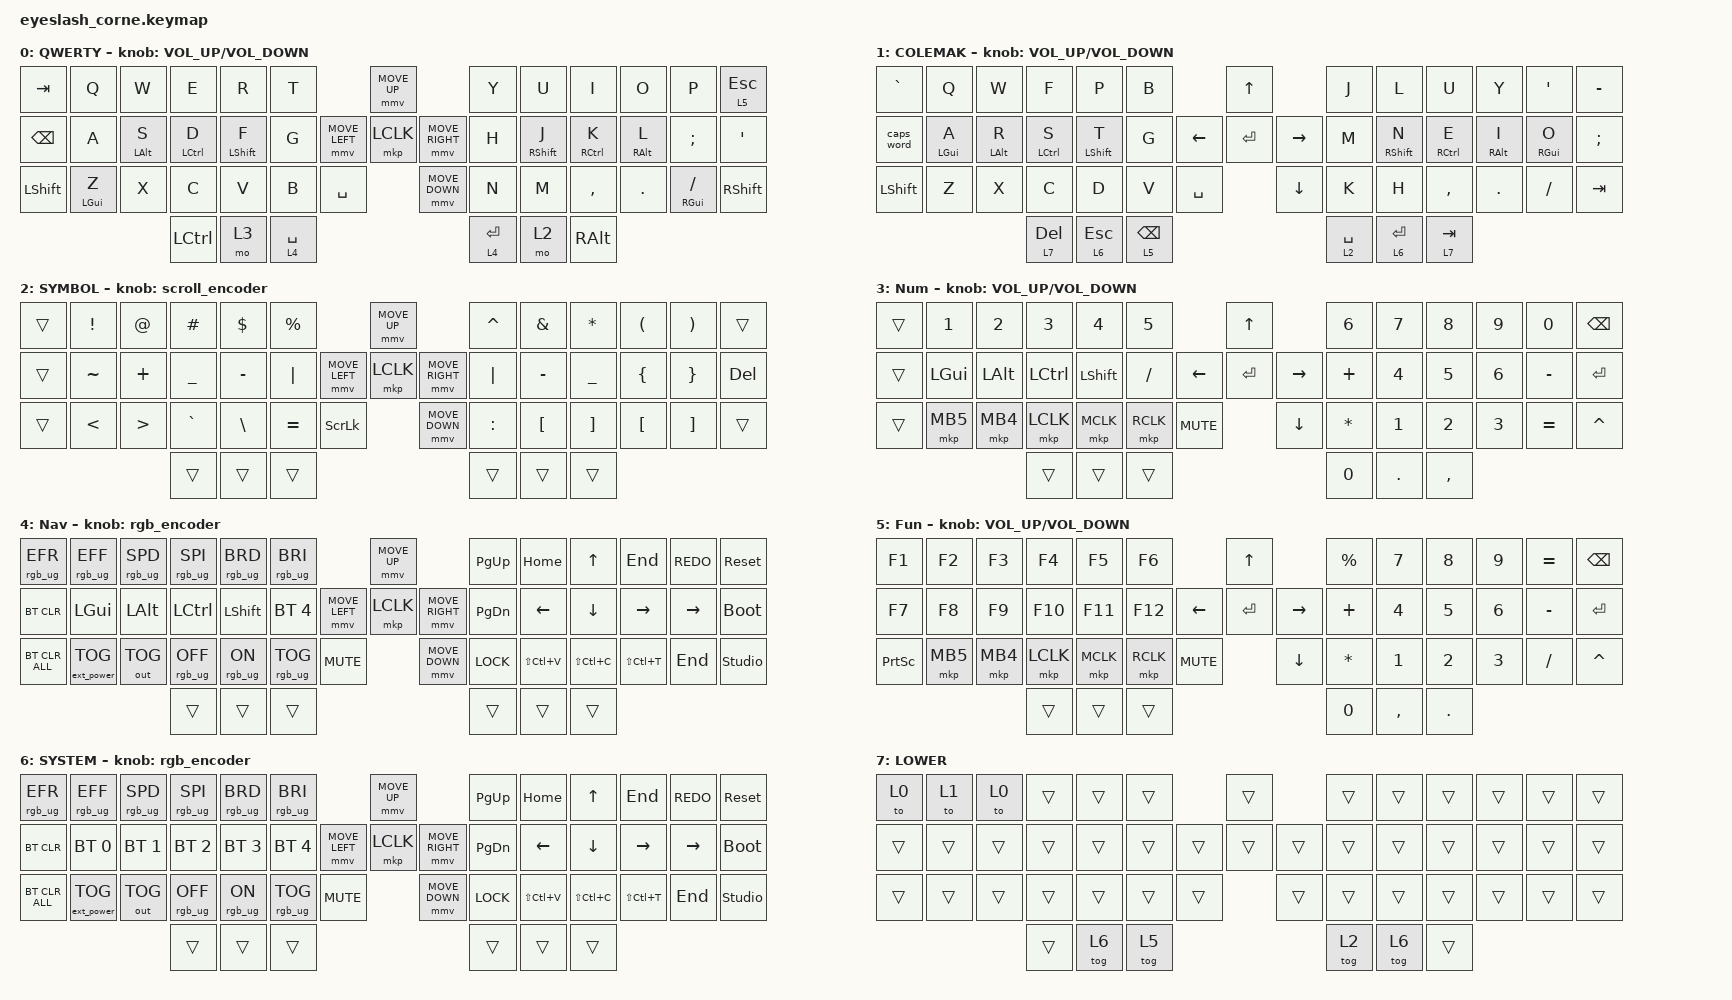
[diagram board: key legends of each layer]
#include <dt-bindings/zmk/mouse.h>
#include <input/processors.dtsi>
#include <behaviors.dtsi>
#include <dt-bindings/zmk/bt.h>
#include <dt-bindings/zmk/ext_power.h>
#include <dt-bindings/zmk/keys.h>
#include <dt-bindings/zmk/outputs.h>
#include <dt-bindings/zmk/pointing.h>
#include <dt-bindings/zmk/rgb.h>

/*

   &mmv_input_listener {
       input-processors = <&zip_xy_scaler 2 1>;
   };

   &msc_input_listener {
       input-processors = <&zip_xy_scaler 2 1>;
   };

 */

#define ZMK_MOUSE_DEFAULT_MOVE_VAL 1200  // 600
#define ZMK_MOUSE_DEFAULT_SCRL_VAL 20    // 10

/ {
    behaviors {
        td0: td0 {
            compatible = "zmk,behavior-tap-dance";
            display-name = "Shift/Caps Lock Tap Dance";
            #binding-cells = <0>;
            bindings = <&kp LEFT_SHIFT>, <&kp CAPS>;
        };

        hrm_left: hrm_left {
            compatible = "zmk,behavior-hold-tap";
            label = "HRM_LEFT";
            bindings = <&kp>, <&kp>;

            #binding-cells = <2>;
            flavor = "balanced";
            tapping-term-ms = <280>;
            quick-tap-ms = <175>;
            require-prior-idle-ms = <175>;
            hold-trigger-on-release;
            hold-trigger-key-positions = <6 7 20 21 22 35 36 45 46 47 8 9 10 11 12 23 24 25 26 27 37 38 39 40 41 19 34 44 43 42>;
        };

        hrm_right: hrm_right {
            compatible = "zmk,behavior-hold-tap";
            label = "HRM_RIGHT";
            bindings = <&kp>, <&kp>;

            #binding-cells = <2>;
            flavor = "balanced";
            tapping-term-ms = <280>;
            quick-tap-ms = <175>;
            require-prior-idle-ms = <175>;
            hold-trigger-on-release;
            hold-trigger-key-positions = <0 1 2 3 4 5 13 14 15 16 17 18 28 29 30 31 32 33 34 42 43 44 19 20 21 35 6 45 46 47>;
        };

        layer_tap: layer_tap {
            compatible = "zmk,behavior-hold-tap";
            label = "LAYER_TAP";
            bindings = <&mo>, <&kp>;

            #binding-cells = <2>;
            quick-tap-ms = <175>;
            flavor = "tap-preferred";
            tapping-term-ms = <280>;
        };
    };

    rgb_encoder: rgb_encoder {
        compatible = "zmk,behavior-sensor-rotate";
        #sensor-binding-cells = <0>;
        bindings = <&rgb_ug RGB_BRI>, <&rgb_ug RGB_BRD>;
    };

    scroll_encoder: scroll_encoder {
        compatible = "zmk,behavior-sensor-rotate";
        #sensor-binding-cells = <0>;
        bindings = <&msc SCRL_DOWN>, <&msc SCRL_UP>;

        tap-ms = <30>;
    };

    keymap {
        compatible = "zmk,keymap";

        qwerty {
            display-name = "QWERTY";
            bindings = <
&kp TAB         &kp Q                 &kp W             &kp E              &kp R              &kp T                                            &mmv MOVE_UP                     &kp Y               &kp U               &kp I               &kp O              &kp P                       &lt 5 ESC
&kp BACKSPACE   &kp A                 &hrm_left LALT S  &hrm_left LCTRL D  &hrm_left LSHFT F  &kp G                            &mmv MOVE_LEFT  &mkp LCLK       &mmv MOVE_RIGHT  &kp H               &hrm_right RSHFT J  &hrm_right RCTRL K  &hrm_right RALT L  &kp SEMICOLON               &kp SQT
&kp LEFT_SHIFT  &hrm_left LEFT_GUI Z  &kp X             &kp C              &kp V              &kp B               &kp SPACE                    &mmv MOVE_DOWN                   &kp N               &kp M               &kp COMMA           &kp DOT            &hrm_right RIGHT_GUI SLASH  &kp RIGHT_SHIFT
                                                        &kp LEFT_CONTROL   &mo 3              &layer_tap 4 SPACE                                                                &layer_tap 4 ENTER  &mo 2               &kp RIGHT_ALT
            >;

            sensor-bindings = <&inc_dec_kp C_VOLUME_UP C_VOLUME_DOWN>;
        };

        colemak {
            display-name = "COLEMAK";
            bindings = <
&kp GRAVE       &kp Q             &kp W             &kp F                &kp P              &kp B                                          &kp UP                &kp J               &kp L               &kp U               &kp Y              &kp APOS           &kp MINUS
&caps_word      &hrm_left LGUI A  &hrm_left LALT R  &hrm_left LCTRL S    &hrm_left LSHFT T  &kp G                                &kp LEFT  &kp ENTER  &kp RIGHT  &kp M               &hrm_right RSHFT N  &hrm_right RCTRL E  &hrm_right RALT I  &hrm_right RGUI O  &kp SEMI
&kp LEFT_SHIFT  &kp Z             &kp X             &kp C                &kp D              &kp V                   &kp SPACE              &kp DOWN              &kp K               &kp H               &kp COMMA           &kp DOT            &kp FSLH           &kp TAB
                                                    &layer_tap 7 DELETE  &layer_tap 6 ESC   &layer_tap 5 BACKSPACE                                               &layer_tap 2 SPACE  &layer_tap 6 ENTER  &layer_tap 7 TAB
            >;

            sensor-bindings = <&inc_dec_kp C_VOLUME_UP C_VOLUME_DOWN>;
        };

        symbol {
            bindings = <
&trans  &kp EXCLAMATION  &kp AT_SIGN       &kp HASH        &kp DOLLAR     &kp PERCENT                                    &mmv MOVE_UP                     &kp CARET  &kp AMPERSAND     &kp ASTERISK       &kp LEFT_PARENTHESIS  &kp RIGHT_PARENTHESIS  &trans
&trans  &kp TILDE        &kp PLUS          &kp UNDERSCORE  &kp MINUS      &kp PIPE                       &mmv MOVE_LEFT  &mkp LCLK       &mmv MOVE_RIGHT  &kp PIPE   &kp MINUS         &kp UNDERSCORE     &kp LEFT_BRACE        &kp RIGHT_BRACE        &kp DELETE
&trans  &kp LESS_THAN    &kp GREATER_THAN  &kp GRAVE       &kp BACKSLASH  &kp EQUAL    &kp SCROLLLOCK                    &mmv MOVE_DOWN                   &kp COLON  &kp LEFT_BRACKET  &kp RIGHT_BRACKET  &kp LEFT_BRACKET      &kp RIGHT_BRACKET      &trans
                                           &trans          &trans         &trans                                                                          &trans     &trans            &trans
            >;

            label = "SYMBOL";
            sensor-bindings = <&scroll_encoder>;
        };

        Num {
            label = "Num";
            bindings = <
&trans  &kp N1        &kp N2        &kp N3            &kp N4          &kp N5                             &kp UP                &kp N6        &kp N7      &kp N8     &kp N9  &kp N0     &kp BACKSPACE
&trans  &kp LEFT_GUI  &kp LEFT_ALT  &kp LEFT_CONTROL  &kp LEFT_SHIFT  &kp SLASH                &kp LEFT  &kp ENTER  &kp RIGHT  &kp PLUS      &kp N4      &kp N5     &kp N6  &kp MINUS  &kp ENTER
&trans  &mkp MB5      &mkp MB4      &mkp LCLK         &mkp MCLK       &mkp RCLK  &kp C_MUTE              &kp DOWN              &kp ASTERISK  &kp N1      &kp N2     &kp N3  &kp EQUAL  &kp CARET
                                    &trans            &trans          &trans                                                   &kp N0        &kp PERIOD  &kp COMMA
            >;

            sensor-bindings = <&inc_dec_kp C_VOLUME_UP C_VOLUME_DOWN>;
        };

        Nav {
            display-name = "Nav";
            bindings = <
&rgb_ug RGB_EFR  &rgb_ug RGB_EFF    &rgb_ug RGB_SPD  &rgb_ug RGB_SPI   &rgb_ug RGB_BRD  &rgb_ug RGB_BRI                                &mmv MOVE_UP                     &kp PAGE_UP    &kp HOME        &kp UP_ARROW    &kp END        &kp K_REDO  &sys_reset
&bt BT_CLR       &kp LEFT_GUI       &kp LEFT_ALT     &kp LEFT_CONTROL  &kp LEFT_SHIFT   &bt BT_SEL 4                   &mmv MOVE_LEFT  &mkp LCLK       &mmv MOVE_RIGHT  &kp PAGE_DOWN  &kp LEFT_ARROW  &kp DOWN_ARROW  &kp RIGHT      &kp RIGHT   &bootloader
&bt BT_CLR_ALL   &ext_power EP_TOG  &out OUT_TOG     &rgb_ug RGB_OFF   &rgb_ug RGB_ON   &rgb_ug RGB_TOG  &kp C_MUTE                    &mmv MOVE_DOWN                   &kp K_LOCK     &kp LS(LC(V))   &kp LS(LC(C))   &kp LS(LC(T))  &kp END     &studio_unlock
                                                     &trans            &trans           &trans                                                                          &trans         &trans          &trans
            >;

            sensor-bindings = <&rgb_encoder>;
        };

        Fun {
            bindings = <
&kp F1           &kp F2    &kp F3    &kp F4     &kp F5     &kp F6                             &kp UP                &kp PERCENT   &kp N7     &kp N8   &kp N9  &kp EQUAL  &kp BACKSPACE
&kp F7           &kp F8    &kp F9    &kp F10    &kp F11    &kp F12                  &kp LEFT  &kp ENTER  &kp RIGHT  &kp PLUS      &kp N4     &kp N5   &kp N6  &kp MINUS  &kp ENTER
&kp PRINTSCREEN  &mkp MB5  &mkp MB4  &mkp LCLK  &mkp MCLK  &mkp RCLK  &kp C_MUTE              &kp DOWN              &kp ASTERISK  &kp N1     &kp N2   &kp N3  &kp FSLH   &kp CARET
                                     &trans     &trans     &trans                                                   &kp N0        &kp COMMA  &kp DOT
            >;

            label = "Fun";
            sensor-bindings = <&inc_dec_kp C_VOLUME_UP C_VOLUME_DOWN>;
        };

        system {
            display-name = "SYSTEM";
            bindings = <
&rgb_ug RGB_EFR  &rgb_ug RGB_EFF    &rgb_ug RGB_SPD  &rgb_ug RGB_SPI  &rgb_ug RGB_BRD  &rgb_ug RGB_BRI                                &mmv MOVE_UP                     &kp PAGE_UP    &kp HOME        &kp UP_ARROW    &kp END        &kp K_REDO  &sys_reset
&bt BT_CLR       &bt BT_SEL 0       &bt BT_SEL 1     &bt BT_SEL 2     &bt BT_SEL 3     &bt BT_SEL 4                   &mmv MOVE_LEFT  &mkp LCLK       &mmv MOVE_RIGHT  &kp PAGE_DOWN  &kp LEFT_ARROW  &kp DOWN_ARROW  &kp RIGHT      &kp RIGHT   &bootloader
&bt BT_CLR_ALL   &ext_power EP_TOG  &out OUT_TOG     &rgb_ug RGB_OFF  &rgb_ug RGB_ON   &rgb_ug RGB_TOG  &kp C_MUTE                    &mmv MOVE_DOWN                   &kp K_LOCK     &kp LS(LC(V))   &kp LS(LC(C))   &kp LS(LC(T))  &kp END     &studio_unlock
                                                     &trans           &trans           &trans                                                                          &trans         &trans          &trans
            >;

            sensor-bindings = <&rgb_encoder>;
        };

        lower {
            bindings = <
&to 0   &to 1   &to 0   &trans  &trans  &trans                    &trans          &trans  &trans  &trans  &trans  &trans  &trans
&trans  &trans  &trans  &trans  &trans  &trans            &trans  &trans  &trans  &trans  &trans  &trans  &trans  &trans  &trans
&trans  &trans  &trans  &trans  &trans  &trans  &trans            &trans          &trans  &trans  &trans  &trans  &trans  &trans
                        &trans  &tog 6  &tog 5                                    &tog 2  &tog 6  &trans
            >;

            label = "LOWER";
        };
    };
};
